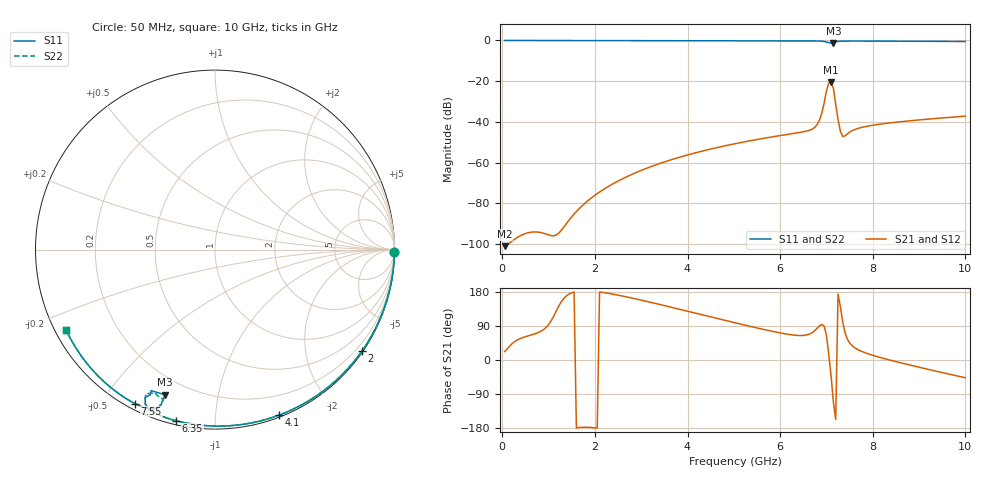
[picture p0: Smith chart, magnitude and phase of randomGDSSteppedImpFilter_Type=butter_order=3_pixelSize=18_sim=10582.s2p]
! freq	dB(S11)	phase(S11)	dB(S12)	phase(S12)
!  dB(S21)	phase(S21)	dB(S22)	phase(S22)
!S-par simulation data
#  GHz  S  DB  R 50
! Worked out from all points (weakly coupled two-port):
!   200 points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, 50 MHz to 10 GHz, reference 50 ohm
!   highest |S21| = -20.37 dB at 7.1 GHz (marker M1); lowest = -101.0 dB at 50 MHz (marker M2)
!   lowest |S11| = -1.4 dB at 7.15 GHz (marker M3), VSWR 12.84, Z = 5.86 - j35.4 ohm
!   |S11| at or under -10 dB: nowhere
!   |S22| runs from -1.3 to 0.0 dB; largest |S21 - S12| = 0
!   S11 on the Smith chart (normalised r, x): 50 MHz: open; 2 GHz: 0.03, -3.20; 4.1 GHz: 0.02, -1.46; 6.35 GHz: 0.02, -0.80; 7.55 GHz: 0.02, -0.61; 10 GHz: 0.03, -0.25
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0.05  -0.00 -0.9  -101.04 22.4  -101.04 22.4  -0.00 -0.9
1.75  -0.04 -30.5  -80.66 -177.4  -80.66 -177.4  -0.04 -30.5
2  -0.04 -34.7  -76.03 -179.0  -76.03 -179.0  -0.04 -34.7
2.6  -0.06 -44.8  -67.90 168.7  -67.90 168.7  -0.06 -44.8
3.4  -0.08 -57.8  -60.43 146.5  -60.43 146.5  -0.08 -57.8
4.1  -0.10 -68.9  -55.61 125.7  -55.61 125.7  -0.10 -68.9
5.05  -0.13 -83.5  -50.60 97.5  -50.60 97.5  -0.13 -83.5
6.35  -0.19 -102.8  -45.45 65.0  -45.45 65.0  -0.19 -102.8
6.7  -0.23 -108.4  -43.46 72.8  -43.46 72.8  -0.24 -108.5
6.8  -0.26 -110.3  -41.28 83.8  -41.28 83.8  -0.27 -110.5
6.85  -0.29 -111.4  -39.07 90.2  -39.07 90.2  -0.31 -111.6
6.9  -0.35 -112.7  -35.66 93.9  -35.66 93.9  -0.38 -113.0
7  -0.81 -115.3  -24.75 65.2  -24.75 65.2  -1.01 -115.6
7.05  -1.05 -114.0  -20.97 13.4  -20.97 13.4  -1.27 -112.5
7.1  -1.28 -114.3  -20.37 -42.2  -20.37 -42.2  -1.18 -112.0
7.15  -1.36 -109.0  -23.53 -111.5  -23.53 -111.5  -1.07 -108.9
7.25  -0.44 -111.1  -38.75 174.2  -38.75 174.2  -0.40 -111.5
7.3  -0.36 -112.6  -44.54 141.0  -44.54 141.0  -0.34 -112.8
7.35  -0.33 -113.8  -47.18 101.4  -47.18 101.4  -0.32 -113.9
7.55  -0.29 -117.5  -44.39 38.4  -44.39 38.4  -0.29 -117.5
8.35  -0.34 -129.1  -40.55 0.4  -40.55 0.4  -0.34 -129.2
10  -0.52 -151.8  -37.17 -46.9  -37.17 -46.9  -0.52 -151.8
